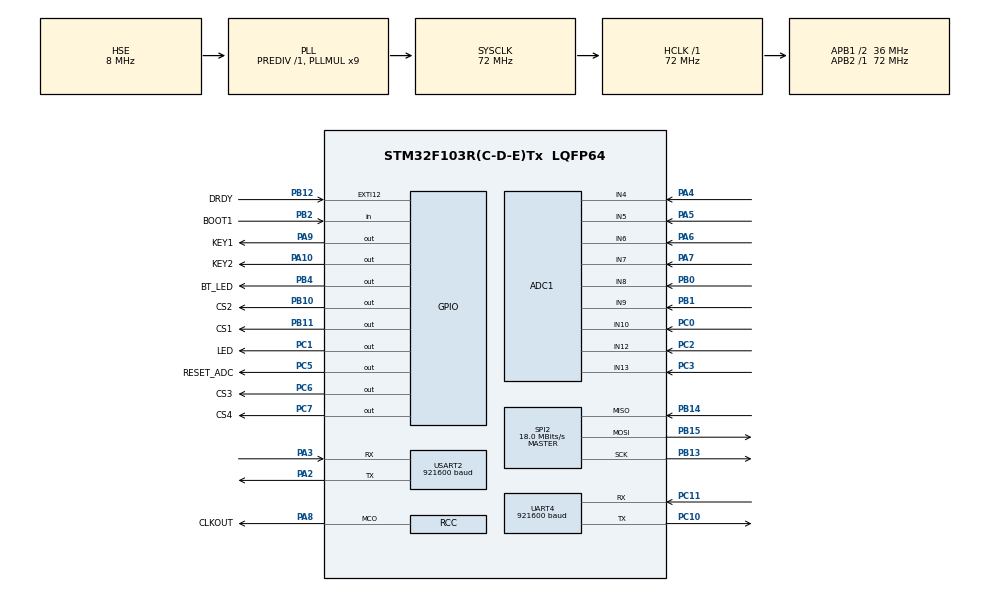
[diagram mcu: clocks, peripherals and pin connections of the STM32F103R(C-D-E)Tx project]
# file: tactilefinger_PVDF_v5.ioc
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ADC1.Channel-0\#ChannelRegularConversion=ADC_CHANNEL_4
ADC1.NbrOfConversionFlag=1
ADC1.Rank-0\#ChannelRegularConversion=1
ADC1.SamplingTime-0\#ChannelRegularConversion=ADC_SAMPLETIME_1CYCLE_5
ADC1.master=1
Dma.Request0=SPI2_RX
Dma.Request1=SPI2_TX
Dma.Request2=USART2_TX
Dma.Request3=UART4_TX
Dma.SPI2_RX.0.Direction=DMA_PERIPH_TO_MEMORY
Dma.SPI2_RX.0.Instance=DMA1_Channel4
Dma.SPI2_RX.0.MemDataAlignment=DMA_MDATAALIGN_BYTE
Dma.SPI2_RX.0.MemInc=DMA_MINC_ENABLE
Dma.SPI2_RX.0.Mode=DMA_NORMAL
Dma.SPI2_RX.0.PeriphDataAlignment=DMA_PDATAALIGN_BYTE
Dma.SPI2_RX.0.PeriphInc=DMA_PINC_DISABLE
Dma.SPI2_RX.0.Priority=DMA_PRIORITY_HIGH
Dma.SPI2_TX.1.Direction=DMA_MEMORY_TO_PERIPH
Dma.SPI2_TX.1.Instance=DMA1_Channel5
Dma.SPI2_TX.1.MemDataAlignment=DMA_MDATAALIGN_BYTE
Dma.SPI2_TX.1.MemInc=DMA_MINC_ENABLE
Dma.SPI2_TX.1.Mode=DMA_NORMAL
Dma.SPI2_TX.1.PeriphDataAlignment=DMA_PDATAALIGN_BYTE
Dma.SPI2_TX.1.PeriphInc=DMA_PINC_DISABLE
Dma.SPI2_TX.1.Priority=DMA_PRIORITY_HIGH
Dma.UART4_TX.3.Direction=DMA_MEMORY_TO_PERIPH
Dma.UART4_TX.3.Instance=DMA2_Channel5
Dma.UART4_TX.3.MemDataAlignment=DMA_MDATAALIGN_BYTE
Dma.UART4_TX.3.MemInc=DMA_MINC_ENABLE
Dma.UART4_TX.3.Mode=DMA_NORMAL
Dma.UART4_TX.3.PeriphDataAlignment=DMA_PDATAALIGN_BYTE
Dma.UART4_TX.3.PeriphInc=DMA_PINC_DISABLE
Dma.UART4_TX.3.Priority=DMA_PRIORITY_LOW
Dma.USART2_TX.2.Direction=DMA_MEMORY_TO_PERIPH
Dma.USART2_TX.2.Instance=DMA1_Channel7
Dma.USART2_TX.2.MemDataAlignment=DMA_MDATAALIGN_BYTE
Dma.USART2_TX.2.MemInc=DMA_MINC_ENABLE
Dma.USART2_TX.2.Mode=DMA_NORMAL
Dma.USART2_TX.2.PeriphDataAlignment=DMA_PDATAALIGN_BYTE
Dma.USART2_TX.2.PeriphInc=DMA_PINC_DISABLE
Dma.USART2_TX.2.Priority=DMA_PRIORITY_LOW
Mcu.Family=STM32F1
Mcu.Name=STM32F103R(C-D-E)Tx
Mcu.Package=LQFP64
NVIC.DMA1_Channel4_IRQn=true\:0\:0\:true\:false\:true\:false\:true\:true
NVIC.DMA1_Channel5_IRQn=true\:0\:0\:true\:false\:true\:false\:true\:true
NVIC.DMA1_Channel7_IRQn=true\:0\:0\:false\:false\:true\:false\:true\:true
NVIC.DMA2_Channel4_5_IRQn=true\:0\:0\:false\:false\:true\:false\:true\:true
NVIC.EXTI15_10_IRQn=true\:0\:0\:false\:false\:true\:true\:true\:true
NVIC.PriorityGroup=NVIC_PRIORITYGROUP_4
NVIC.SPI2_IRQn=true\:1\:0\:true\:false\:true\:true\:true\:true
NVIC.TIM2_IRQn=true\:3\:0\:true\:false\:true\:true\:true\:true
NVIC.UART4_IRQn=true\:2\:0\:true\:false\:true\:true\:true\:true
NVIC.USART2_IRQn=true\:3\:0\:true\:false\:true\:true\:true\:true
PA10.GPIO_Label=KEY2
PA10.PinState=GPIO_PIN_SET
PA10.Signal=GPIO_Output
PA13.Mode=Serial_Wire
PA13.Signal=SYS_JTMS-SWDIO
PA14.Mode=Serial_Wire
PA14.Signal=SYS_JTCK-SWCLK
PA2.Mode=Asynchronous
PA2.Signal=USART2_TX
PA3.Mode=Asynchronous
PA3.Signal=USART2_RX
PA4.Signal=ADCx_IN4
PA5.Signal=ADCx_IN5
PA6.Signal=ADCx_IN6
PA7.Signal=ADCx_IN7
PA8.GPIO_Label=CLKOUT
PA8.Mode=Clock-out
PA8.Signal=RCC_MCO
PA9.GPIO_Label=KEY1
PA9.PinState=GPIO_PIN_SET
PA9.Signal=GPIO_Output
PB0.Signal=ADCx_IN8
PB1.Signal=ADCx_IN9
PB10.GPIO_Label=CS2
PB10.PinState=GPIO_PIN_SET
PB10.Signal=GPIO_Output
PB11.GPIO_Label=CS1
PB11.PinState=GPIO_PIN_SET
PB11.Signal=GPIO_Output
PB12.GPIO_Label=DRDY
PB12.GPIO_ModeDefaultEXTI=GPIO_MODE_IT_FALLING
PB12.Signal=GPXTI12
PB13.Mode=Full_Duplex_Master
PB13.Signal=SPI2_SCK
PB14.Mode=Full_Duplex_Master
PB14.Signal=SPI2_MISO
PB15.Mode=Full_Duplex_Master
PB15.Signal=SPI2_MOSI
PB2.GPIO_Label=BOOT1
PB2.GPIO_PuPd=GPIO_PULLDOWN
PB2.Signal=GPIO_Input
PB4.GPIO_Label=BT_LED
PB4.Signal=GPIO_Output
PC0.Signal=ADCx_IN10
PC1.GPIO_Label=LED
PC1.PinState=GPIO_PIN_SET
PC1.Signal=GPIO_Output
PC10.Mode=Asynchronous
PC10.Signal=UART4_TX
PC11.Mode=Asynchronous
PC11.Signal=UART4_RX
PC2.Signal=ADCx_IN12
PC3.Signal=ADCx_IN13
PC5.GPIO_Label=RESET_ADC
PC5.PinState=GPIO_PIN_SET
PC5.Signal=GPIO_Output
PC6.GPIO_Label=CS3
PC6.PinState=GPIO_PIN_SET
PC6.Signal=GPIO_Output
PC7.GPIO_Label=CS4
PC7.PinState=GPIO_PIN_SET
PC7.Signal=GPIO_Output
PD0-OSC_IN.Mode=HSE-External-Oscillator
PD0-OSC_IN.Signal=RCC_OSC_IN
PD1-OSC_OUT.Mode=HSE-External-Oscillator
PD1-OSC_OUT.Signal=RCC_OSC_OUT
ProjectManager.HeapSize=0x200
ProjectManager.StackSize=0x400
ProjectManager.TargetToolchain=STM32CubeIDE
RCC.ADCPresc=RCC_ADCPCLK2_DIV6
RCC.AHBFreq_Value=72000000
RCC.APB1CLKDivider=RCC_HCLK_DIV2
RCC.APB1Freq_Value=36000000
RCC.APB1TimFreq_Value=72000000
RCC.APB2Freq_Value=72000000
RCC.APB2TimFreq_Value=72000000
RCC.HCLKFreq_Value=72000000
RCC.PLLMUL=RCC_PLL_MUL9
RCC.PLLSourceVirtual=RCC_PLLSOURCE_HSE
RCC.RCC_MCOSource=RCC_MCO1SOURCE_HSI
RCC.SYSCLKFreq_VALUE=72000000
RCC.SYSCLKSource=RCC_SYSCLKSOURCE_PLLCLK
RCC.USBFreq_Value=72000000
SH.ADCx_IN10.0=ADC1_IN10,IN10
SH.ADCx_IN12.0=ADC1_IN12,IN12
SH.ADCx_IN13.0=ADC1_IN13,IN13
SH.ADCx_IN4.0=ADC1_IN4,IN4
SH.ADCx_IN5.0=ADC1_IN5,IN5
SH.ADCx_IN6.0=ADC1_IN6,IN6
SH.ADCx_IN7.0=ADC1_IN7,IN7
SH.ADCx_IN8.0=ADC1_IN8,IN8
SH.ADCx_IN9.0=ADC1_IN9,IN9
SPI2.BaudRatePrescaler=SPI_BAUDRATEPRESCALER_2
SPI2.CLKPhase=SPI_PHASE_2EDGE
SPI2.CalculateBaudRate=18.0 MBits/s
SPI2.Direction=SPI_DIRECTION_2LINES
SPI2.Mode=SPI_MODE_MASTER
SPI2.VirtualType=VM_MASTER
TIM2.Period=9999
TIM2.Prescaler=719
UART4.BaudRate=921600
UART4.Mode=MODE_TX
UART4.VirtualMode=Asynchronous
USART2.BaudRate=921600
USART2.Mode=MODE_TX
USART2.VirtualMode=VM_ASYNC
VP_TIM2_VS_ClockSourceINT.Mode=Internal
board=custom

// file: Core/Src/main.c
/* USER CODE BEGIN Header */
/**
  ******************************************************************************
  * @file           : main.c
  * @brief          : Main program body
  ******************************************************************************
  * @attention
  *
  * Copyright (c) 2024 STMicroelectronics.
  * All rights reserved.
  *
  * This software is licensed under terms that can be found in the LICENSE file
  * in the root directory of this software component.
  * If no LICENSE file comes with this software, it is provided AS-IS.
  *
  ******************************************************************************
  */
/* USER CODE END Header */
#include "main.h"
#include "adc.h"
#include "dma.h"
#include "spi.h"
#include "tim.h"
#include "usart.h"
#include "gpio.h"

/* USER CODE BEGIN Includes */
#include "ads131m0x.h"
#include "stdio.h"
#include "string.h"
#include "queue.h"
/* USER CODE END Includes */

/* USER CODE BEGIN PTD */
extern DMA_HandleTypeDef hdma_spi2_rx;

/* USER CODE END PTD */

/* USER CODE BEGIN PV */
// only 1 ADC chip
//uint8_t receiveData[24];
//uint8_t transmitData[transm_data_len];
//uint8_t receiveCommand[2];
//
//int cnt = 0;
//int test_flag = 0;
////int dataCpltFlag = 0;
//
//Queue *queue;

// all 4 ADC chip
uint8_t receiveData[4][27];  // 每个芯片27字节的数据缓冲区（3字节状态字 + 24字节通道数据）
int currentChip = 0; // 当前处理的芯片索�???????????
int cnt = 0;
int test_flag = 0;
Queue *queues[5]; // 每个芯片�???????????个队�???????????

static uint8_t dma_tx_buffer[transm_data_len];  // DMA persistent send buffer
static uint8_t spi_null_tx[27] = {0};          // Zero TX buffer for safe ADC reads (NULL command)

ChipSelectConfig csConfig[4] = {
    {CS1_GPIO_Port, CS1_Pin},
    {CS2_GPIO_Port, CS2_Pin},
    {CS3_GPIO_Port, CS3_Pin},
    {CS4_GPIO_Port, CS4_Pin}
};

uint8_t adc_connected[4] = {1,1,1,1};  // 存储每个ADC芯片的连接状�???????????

volatile uint8_t data_ready_flag = 0;  // DRDY中断标志位
volatile uint8_t uart_tx_busy = 0;     // UART DMA传输忙标志位
int tx_queue_index = 0;                // 当前发送的队列索引
static uint32_t drdy_watchdog = 0;     // DRDY超时计数器，用于EXTI丢失时的GPIO备份检测

static uint32_t last_drdy_level_read_ms = 0;
static const uint32_t drdy_level_poll_interval_ms = 1;

/* Per-ADC runtime diagnostic counters */
typedef struct {
    uint32_t frames_total;
    uint32_t frames_ff_header;
    uint32_t status_ff_count;
    uint32_t rx_all_zero_count;
    uint32_t rx_all_ff_count;
    uint32_t frames_valid;
    uint32_t frames_invalid;
    uint32_t spi_error_count;
    uint8_t  last_status[3];
    uint8_t  last_rx_first6[6];
} AdcDiagRuntime;

static AdcDiagRuntime adc_rt[4];
static uint32_t drdy_cycle_count = 0;
static uint32_t last_diag_cycle_printed = 0;
static uint8_t  diag_printed_once = 0;

/* USER CODE END PV */

void SystemClock_Config(void);
/* USER CODE BEGIN PFP */
static void print_diag_to_usart2(void);
static void read_all_adcs_and_enqueue_ch4_mix(void);
/* USER CODE END PFP */

int main(void)
{

  /* MCU Configuration--------------------------------------------------------*/

  /* Reset of all peripherals, Initializes the Flash interface and the Systick. */
  HAL_Init();

  /* Configure the system clock */
  SystemClock_Config();

  /* Initialize all configured peripherals */
  MX_GPIO_Init();
  MX_DMA_Init();
  MX_UART4_Init();
  MX_USART2_UART_Init();
  MX_SPI2_Init();
  MX_ADC1_Init();
  MX_TIM2_Init();
  /* USER CODE BEGIN 2 */
  HAL_TIM_Base_Start_IT(&htim2); // 启动TIM2并使能中�???????????

  // only 1 ADC chip
//  queue = createQueue(10);

  // all 4 ADC chip
  for (int i = 0; i < 5; i++) {
	queues[i] = createQueue(50); // 为每个芯片创建队�??????????? 为混合adc芯片的数据存储单独创建队列
  }

//	HAL_GPIO_WritePin(CS1_GPIO_Port, CS1_Pin, GPIO_PIN_RESET);  // enable chip 1
	HAL_Delay(500);  // 等待ADC和模拟电源稳定
	adcStartup();
	HAL_Delay(100);
//	HAL_GPIO_WritePin(CS1_GPIO_Port, CS1_Pin, GPIO_PIN_SET);    // disable chip 1
//	HAL_GPIO_WritePin(CS1_GPIO_Port, CS1_Pin, GPIO_PIN_RESET);  // enable chip 1
	__HAL_GPIO_EXTI_CLEAR_IT(DRDY_Pin);  // 清除上电期间可能产生的伪中断标志位
	HAL_NVIC_EnableIRQ(EXTI15_10_IRQn);
	// If DRDY is already low (level mode, IRQ enabled after first conversion), trigger first read
	if (HAL_GPIO_ReadPin(DRDY_GPIO_Port, DRDY_Pin) == GPIO_PIN_RESET)
		data_ready_flag = 1;

  /* USER CODE END 2 */

  /* Infinite loop */
  while (1)
  {

    /* USER CODE BEGIN 3 */
	  // =====================================================
	  // DRDY 检测: 纯 EXTI 驱动 + 50ms 看门狗备份
	  // DRDY 电平模式下 GPIO 轮询作为 OR 条件会导致紧循环
	  // 改为仅响应 EXTI 中断标志，看门狗作为备份
	  // =====================================================
	  if (data_ready_flag == 1)
	  {
		  data_ready_flag = 0;   // 清除 EXTI 标志位
		  drdy_watchdog = 0;     // 重置看门狗

		  last_drdy_level_read_ms = HAL_GetTick();

		  read_all_adcs_and_enqueue_ch4_mix();
		  drdy_cycle_count++;
	  }
	  else
	  {
		  uint32_t now_ms = HAL_GetTick();

		  if (HAL_GPIO_ReadPin(DRDY_GPIO_Port, DRDY_Pin) == GPIO_PIN_RESET &&
		      (uint32_t)(now_ms - last_drdy_level_read_ms) >= drdy_level_poll_interval_ms)
		  {
			  last_drdy_level_read_ms = now_ms;
			  drdy_watchdog = 0;
			  read_all_adcs_and_enqueue_ch4_mix();
			  drdy_cycle_count++;
		  }
		  else
		  {
		  // EXTI 看门狗: 约 50ms 无 DRDY 中断时，通过 GPIO 电平备份检测
		  // 主循环极快 (每圈 ~µs 级)，5000000 次迭代 ≈ 50ms
		  if (++drdy_watchdog > 5000000)
		  {
			  drdy_watchdog = 0;
			  if (HAL_GPIO_ReadPin(DRDY_GPIO_Port, DRDY_Pin) == GPIO_PIN_RESET)
			  {
				  // GPIO 电平备份读取 (EXTI 丢失时的恢复机制)
				  read_all_adcs_and_enqueue_ch4_mix();
				  drdy_cycle_count++;
			  }
		  }
		  }
	  }

	  // Debug diag print via USART2: once at startup, then every 2000 DRDY cycles
	  {
		  int need_first_print = !diag_printed_once;
		  int need_cycle_print = (drdy_cycle_count > 0 &&
		                         drdy_cycle_count != last_diag_cycle_printed &&
		                         drdy_cycle_count % 2000 == 0);
		  if (need_first_print || need_cycle_print)
		  {
			  diag_printed_once = 1;
			  last_diag_cycle_printed = drdy_cycle_count;
			  print_diag_to_usart2();
		  }
	  }

	  // 发送混合队列中的数据
	  if (!uart_tx_busy)
	  {
		  if (!isEmpty(queues[4]))
		  {
			  QueueElement item = dequeue(queues[4]);
			  memcpy(dma_tx_buffer, item.data, transm_data_len);
			  uart_tx_busy = 1;
			  if (HAL_UART_Transmit_DMA(&huart4, dma_tx_buffer, transm_data_len) != HAL_OK)
			  {
				  uart_tx_busy = 0;
			  }
		  }
	  }

  }
  /* USER CODE END 3 */
}

void SystemClock_Config(void)
{
  RCC_OscInitTypeDef RCC_OscInitStruct = {0};
  RCC_ClkInitTypeDef RCC_ClkInitStruct = {0};
  RCC_PeriphCLKInitTypeDef PeriphClkInit = {0};

  /** Initializes the RCC Oscillators according to the specified parameters
  * in the RCC_OscInitTypeDef structure.
  */
  RCC_OscInitStruct.OscillatorType = RCC_OSCILLATORTYPE_HSI|RCC_OSCILLATORTYPE_HSE;
  RCC_OscInitStruct.HSEState = RCC_HSE_ON;
  RCC_OscInitStruct.HSEPredivValue = RCC_HSE_PREDIV_DIV1;
  RCC_OscInitStruct.HSIState = RCC_HSI_ON;
  RCC_OscInitStruct.HSICalibrationValue = RCC_HSICALIBRATION_DEFAULT;
  RCC_OscInitStruct.PLL.PLLState = RCC_PLL_ON;
  RCC_OscInitStruct.PLL.PLLSource = RCC_PLLSOURCE_HSE;
  RCC_OscInitStruct.PLL.PLLMUL = RCC_PLL_MUL9;
  if (HAL_RCC_OscConfig(&RCC_OscInitStruct) != HAL_OK)
  {
    Error_Handler();
  }

  /** Initializes the CPU, AHB and APB buses clocks
  */
  RCC_ClkInitStruct.ClockType = RCC_CLOCKTYPE_HCLK|RCC_CLOCKTYPE_SYSCLK
                              |RCC_CLOCKTYPE_PCLK1|RCC_CLOCKTYPE_PCLK2;
  RCC_ClkInitStruct.SYSCLKSource = RCC_SYSCLKSOURCE_PLLCLK;
  RCC_ClkInitStruct.AHBCLKDivider = RCC_SYSCLK_DIV1;
  RCC_ClkInitStruct.APB1CLKDivider = RCC_HCLK_DIV2;
  RCC_ClkInitStruct.APB2CLKDivider = RCC_HCLK_DIV1;

  if (HAL_RCC_ClockConfig(&RCC_ClkInitStruct, FLASH_LATENCY_2) != HAL_OK)
  {
    Error_Handler();
  }
  PeriphClkInit.PeriphClockSelection = RCC_PERIPHCLK_ADC;
  PeriphClkInit.AdcClockSelection = RCC_ADCPCLK2_DIV6;
  if (HAL_RCCEx_PeriphCLKConfig(&PeriphClkInit) != HAL_OK)
  {
    Error_Handler();
  }
  HAL_RCC_MCOConfig(RCC_MCO, RCC_MCO1SOURCE_HSI, RCC_MCODIV_1);
}

/* USER CODE BEGIN 4 */

/*
 * read_all_adcs_and_enqueue_ch4_mix:
 *   SPI reads 4 ADCs (27 bytes each), classifies frames, extracts CH4,
 *   filters invalid frames, and enqueues one 16-byte mixed frame to queues[4].
 *   Only enqueues if at least one ADC chip is valid.
 */
static void read_all_adcs_and_enqueue_ch4_mix(void)
{
    uint8_t mixed[16];
    int any_valid = 0;

    mixed[0] = 0xAA;
    mixed[1] = 0xAA;

    for (int i = 0; i < 4; i++)
    {
        // CS low
        HAL_GPIO_WritePin(csConfig[i].GPIO_Port, csConfig[i].GPIO_Pin, GPIO_PIN_RESET);

        // Read 27-byte full frame (3 status + 24 channel data)
        HAL_StatusTypeDef spi_ret = HAL_SPI_TransmitReceive(&hspi2, spi_null_tx, receiveData[i], 27, 100);

        // CS high
        HAL_GPIO_WritePin(csConfig[i].GPIO_Port, csConfig[i].GPIO_Pin, GPIO_PIN_SET);

        adc_rt[i].frames_total++;

        // Save raw status + first6 BEFORE any modification
        adc_rt[i].last_status[0] = receiveData[i][0];
        adc_rt[i].last_status[1] = receiveData[i][1];
        adc_rt[i].last_status[2] = receiveData[i][2];
        memcpy(adc_rt[i].last_rx_first6, receiveData[i], 6);

        // ff_header tracking (on raw data)
        if (receiveData[i][0] == 0xFF)
            adc_rt[i].frames_ff_header++;

        // Extended diag classification (ALL on raw data, before any modification)
        int ff_in_status = 0;
        if (receiveData[i][0] == 0xFF) ff_in_status++;
        if (receiveData[i][1] == 0xFF) ff_in_status++;
        if (receiveData[i][2] == 0xFF) ff_in_status++;
        if (ff_in_status >= 2) adc_rt[i].status_ff_count++;

        int all_zero = 1, all_ff = 1;
        for (int j = 0; j < 27; j++) {
            if (receiveData[i][j] != 0x00) all_zero = 0;
            if (receiveData[i][j] != 0xFF) all_ff   = 0;
        }
        if (all_zero) adc_rt[i].rx_all_zero_count++;
        if (all_ff)   adc_rt[i].rx_all_ff_count++;

        // Validity check
        int valid = 1;
        if (spi_ret != HAL_OK) {
            valid = 0;
            adc_rt[i].spi_error_count++;
        }
        if (all_zero) valid = 0;
        if (all_ff)   valid = 0;
        if (ff_in_status >= 2) valid = 0;

        // Extract CH4 (receiveData[i][12..14]) or zero-fill
        if (valid) {
            adc_rt[i].frames_valid++;
            mixed[2 + i*3 + 0] = receiveData[i][12];
            mixed[2 + i*3 + 1] = receiveData[i][13];
            mixed[2 + i*3 + 2] = receiveData[i][14];
            any_valid = 1;
        } else {
            adc_rt[i].frames_invalid++;
            mixed[2 + i*3 + 0] = 0x00;
            mixed[2 + i*3 + 1] = 0x00;
            mixed[2 + i*3 + 2] = 0x00;
        }

        cnt++;
        if (cnt % 1000 == 0)
            HAL_GPIO_TogglePin(LED_GPIO_Port, LED_Pin);
    }

    mixed[14] = 0xFF;
    mixed[15] = 0xFF;

    if (any_valid)
        enqueue(queues[4], mixed);
}
static void print_diag_to_usart2(void)
{
    char buf[200];
    int len;
    static const char eol[] = {0x0D, 0x0A, 0x00};

    len = snprintf(buf, sizeof(buf), "--- ADC Diag [cyc %lu] mix_ovr=%lu ---%s",
        (unsigned long)drdy_cycle_count, (unsigned long)queues[4]->overrun_count, eol);
    HAL_UART_Transmit(&huart2, (uint8_t*)buf, len, 100);

    for (int chip = 0; chip < 4; chip++)
    {
        /* Line 1: init status with sub-flags + register readback values */
        len = snprintf(buf, sizeof(buf),
            "C%d: init=%s(id=%d clk=%d mod=%d) id=0x%04X clk=0x%04X mod=0x%04X%s",
            chip,
            adc_diag[chip].init_ok ? "OK" : "FAIL",
            (int)adc_diag[chip].id_ok, (int)adc_diag[chip].clock_ok, (int)adc_diag[chip].mode_ok,
            (unsigned int)adc_diag[chip].id_read,
            (unsigned int)adc_diag[chip].clock_read,
            (unsigned int)adc_diag[chip].mode_read,
            eol);
        HAL_UART_Transmit(&huart2, (uint8_t*)buf, len, 100);

        /* Line 2: runtime counters + status + first6 + valid/invalid/spi_err */
        len = snprintf(buf, sizeof(buf),
            "    total=%lu ff=%lu | stFF=%lu all0=%lu allFF=%lu | v=%lu iv=%lu spiE=%lu | st=%02X%02X%02X rx=%02X%02X%02X%02X%02X%02X%s",
            (unsigned long)adc_rt[chip].frames_total,
            (unsigned long)adc_rt[chip].frames_ff_header,
            (unsigned long)adc_rt[chip].status_ff_count,
            (unsigned long)adc_rt[chip].rx_all_zero_count,
            (unsigned long)adc_rt[chip].rx_all_ff_count,
            (unsigned long)adc_rt[chip].frames_valid,
            (unsigned long)adc_rt[chip].frames_invalid,
            (unsigned long)adc_rt[chip].spi_error_count,
            (unsigned int)adc_rt[chip].last_status[0],
            (unsigned int)adc_rt[chip].last_status[1],
            (unsigned int)adc_rt[chip].last_status[2],
            (unsigned int)adc_rt[chip].last_rx_first6[0],
            (unsigned int)adc_rt[chip].last_rx_first6[1],
            (unsigned int)adc_rt[chip].last_rx_first6[2],
            (unsigned int)adc_rt[chip].last_rx_first6[3],
            (unsigned int)adc_rt[chip].last_rx_first6[4],
            (unsigned int)adc_rt[chip].last_rx_first6[5],
            eol);
        HAL_UART_Transmit(&huart2, (uint8_t*)buf, len, 100);
    }
}

void HAL_TIM_PeriodElapsedCallback(TIM_HandleTypeDef *htim) {
    // �???????????查触发中断的是否是TIM2
    if (htim->Instance == TIM2)
    {
        // 调用DRDY引脚状�?�检查函�???????????
//        Check_ADC_Connections();
    	// 1 ADC chip
//    	if (!adc_connected[currentChip])
//    	{
//    		transmitData[currentChip][0] = 0xAA;
//			transmitData[currentChip][1] = 0xAA;
//			int idx = 2;
//			for (int i = 0; i < 24 && idx < sizeof(transmitData[currentChip]); i += 3) {
//				transmitData[currentChip][idx] = receiveData[currentChip][i];
//				transmitData[currentChip][idx + 1] = receiveData[currentChip][i + 1];
//				transmitData[currentChip][idx + 2] = receiveData[currentChip][i + 2];
//				idx += 3;
//			}
//			transmitData[currentChip][26] = 0xFF;
//			transmitData[currentChip][27] = 0xFF;
//
//			cnt++;
//			if(cnt % 100 == 0)
//				HAL_GPIO_TogglePin(LED_GPIO_Port, LED_Pin);
//			enqueue(queues[currentChip], transmitData[currentChip]);
//
//			Check_ADC_Connections();
//    	}

    	// 4 ADC chips
//    	for (int i = 0; i < 4; i++){
//			if (!adc_connected[i])
//			{
//				transmitData[i][0] = 0xAA;
//				transmitData[i][1] = 0xAA;
//				int idx = 2;
//				for (int j = 0; j < 24 && idx < sizeof(transmitData[i]); j += 3) {
//					transmitData[i][idx] = receiveData[i][j];
//					transmitData[i][idx + 1] = receiveData[i][j + 1];
//					transmitData[i][idx + 2] = receiveData[i][j + 2];
//					idx += 3;
//				}
//				transmitData[i][26] = 0xFF;
//				transmitData[i][27] = 0xFF;
//
//				cnt++;
//				if(cnt % 100 == 0)
//					HAL_GPIO_TogglePin(LED_GPIO_Port, LED_Pin);
//				enqueue(queues[i], transmitData[i]);
//
//				Check_ADC_Connections();
//			}
//    	}
    }
}

void HAL_GPIO_EXTI_Callback(uint16_t GPIO_Pin)
{
	if(GPIO_Pin == DRDY_Pin){
		// 仅设置标志位，不执行任何阻塞操作
		data_ready_flag = 1;
	}
}

void HAL_UART_TxCpltCallback(UART_HandleTypeDef *huart)
{
	if (huart == &huart4)
	{
		uart_tx_busy = 0;  // DMA传输完成，清除忙标志
	}
}

void HAL_SPI_RxCpltCallback(SPI_HandleTypeDef *hspi)
{

	if(hspi == &hspi2){
//		// only 1 ADC chip
//		HAL_GPIO_WritePin(CS1_GPIO_Port, CS1_Pin, GPIO_PIN_SET);  // disable chip 1
//
//		// gpt优化数据读取保持结果
//		transmitData[0] = 0xAA;
//		transmitData[1] = 0xAA;
//		int idx = 2;  // 用于 transmitData 的索�???????????
//		// 遍历接收到的数据，将 24 位数据按原样存储�??????????? transmitData �???????????
//		for (int i = 0; i < 24 && idx < sizeof(transmitData); i += 3)
//		{
//			// �??????????? receiveData 中的 3 字节数据直接存储�??????????? transmitData �???????????
//			transmitData[idx] = receiveData[i];
//			transmitData[idx + 1] = receiveData[i + 1];
//			transmitData[idx + 2] = receiveData[i + 2];
//
//			idx += 3;  // 每次处理 3 个字节数据，�???????????以索引加 3
//		}
//		transmitData[26] = 0xFF;
//		transmitData[27] = 0xFF;
//
//		cnt++;
//		if(cnt % 1000 == 0)
//			HAL_GPIO_TogglePin(LED_GPIO_Port, LED_Pin);
//		enqueue(queue, transmitData);

		// all 4 ADC chip,send 1 ADC data
//		// 禁用当前的ADC芯片片�?�信�???????????
//		HAL_GPIO_WritePin(csConfig[currentChip].GPIO_Port, csConfig[currentChip].GPIO_Pin, GPIO_PIN_SET);
//
//		// 处理当前ADC芯片的数�???????????
//		transmitData[currentChip][0] = 0xAA;
//		transmitData[currentChip][1] = 0xAA;
//		int idx = 2;
//		for (int i = 0; i < 24 && idx < sizeof(transmitData[currentChip]); i += 3) {
//			transmitData[currentChip][idx] = receiveData[currentChip][i];
//			transmitData[currentChip][idx + 1] = receiveData[currentChip][i + 1];
//			transmitData[currentChip][idx + 2] = receiveData[currentChip][i + 2];
//			idx += 3;
//		}
//		transmitData[currentChip][26] = 0xFF;
//		transmitData[currentChip][27] = 0xFF;
//
//		cnt++;
//		if(cnt % 1000 == 0)
//			HAL_GPIO_TogglePin(LED_GPIO_Port, LED_Pin);
//		enqueue(queues[currentChip], transmitData[currentChip]);

		// 切换到下�???????????个ADC芯片
//		currentChip = (currentChip + 1) % 4;

		// all 4 ADC chip,send 4 ADC data
//		for (int i = 0; i < 4; i++){
//			// 禁用当前的ADC芯片片�?�信�???????????
////			HAL_GPIO_WritePin(csConfig[i].GPIO_Port, csConfig[i].GPIO_Pin, GPIO_PIN_SET);
//
//			// 处理当前ADC芯片的数�???????????
//			transmitData[i][0] = 0xAA;
//			transmitData[i][1] = 0xAA;
//			int idx = 2;
//			for (int j = 0; j < 24 && idx < sizeof(transmitData[i]); j += 3) {
//				transmitData[i][idx] = receiveData[i][j];
//				transmitData[i][idx + 1] = receiveData[i][j + 1];
//				transmitData[i][idx + 2] = receiveData[i][j + 2];
//				idx += 3;
//			}
//			transmitData[i][26] = 0xFF;
//			transmitData[i][27] = 0xFF;
//
//			cnt++;
//			if(cnt % 1000 == 0)
//				HAL_GPIO_TogglePin(LED_GPIO_Port, LED_Pin);
//			enqueue(queues[i], transmitData[i]);
//		}
//		// 禁用当前的ADC芯片片�?�信�???????????
//		HAL_GPIO_WritePin(csConfig[currentChip].GPIO_Port, csConfig[currentChip].GPIO_Pin, GPIO_PIN_SET);

	}
}

void Check_ADC_Connections(void)
{
    for (int i = 0; i < 4; i++) {
        HAL_GPIO_WritePin(csConfig[i].GPIO_Port, csConfig[i].GPIO_Pin, GPIO_PIN_RESET);
        HAL_Delay(1);  // 短暂延时，等待ADC芯片响应

        if (HAL_GPIO_ReadPin(DRDY_GPIO_Port, DRDY_Pin) == GPIO_PIN_RESET) {
            // 如果DRDY引脚被拉低，说明ADC已连接并准备�???????????
            adc_connected[i] = 1;
        } else {
            // 否则，可能未连接或未正常工作
            adc_connected[i] = 0;
        }

        HAL_GPIO_WritePin(csConfig[i].GPIO_Port, csConfig[i].GPIO_Pin, GPIO_PIN_SET);
    }

    // 可以根据adc_connected数组中的结果来做进一步处�???????????
    // 例如记录日志，或者�?�知主程序处理连接错�???????????
}

/* USER CODE END 4 */

void Error_Handler(void)
{
  __disable_irq();
  while (1)
  {
  }
}
